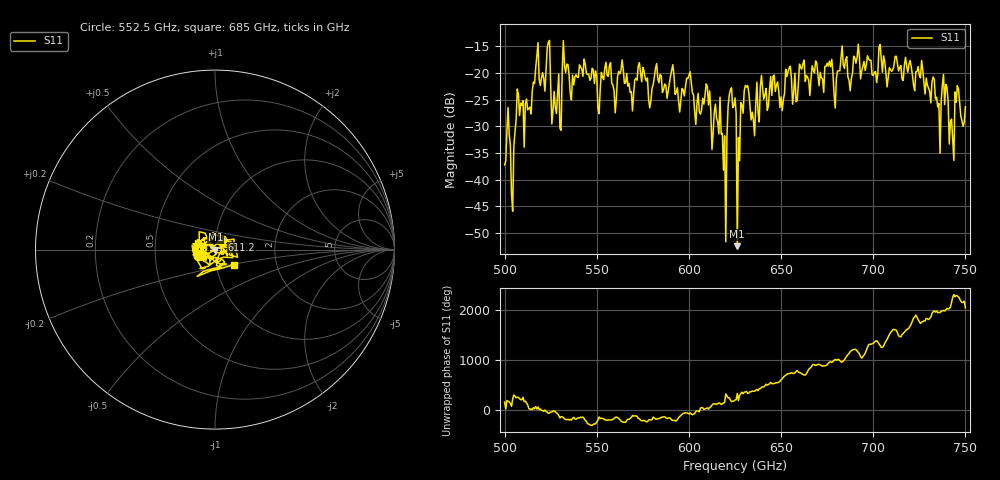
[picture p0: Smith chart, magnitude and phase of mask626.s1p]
!Created with skrf (http://scikit-rf.org).
# GHz S MA R 50.0
!freq magS11 angS11
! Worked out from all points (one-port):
!   401 points, 500 GHz to 750 GHz, reference 50 ohm
!   lowest |S11| = -52.4 dB at 626.2 GHz (marker M1), VSWR 1.00, Z = 50.2 - j0.105 ohm
!   |S11| at or under -10 dB: start of sweep to end of sweep
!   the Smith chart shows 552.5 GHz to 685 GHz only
!   S11 on the Smith chart (normalised r, x): 552.5 GHz: 0.83, -0.06; 611.2 GHz: 1.07, +0.12; 685 GHz: 1.21, -0.21
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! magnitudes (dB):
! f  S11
! 500 GHz  -37.2
! 504.4 GHz  -45.9
! 507.5 GHz  -24.1
! 513.8 GHz  -26.4
! 516.9 GHz  -19.0
! 523.8 GHz  -14.2
! 526.9 GHz  -23.4
! 531.2 GHz  -19.6
! 533.1 GHz  -19.9
! 552.5 GHz  -19.9
! 562.5 GHz  -20.1
! 593.8 GHz  -22.8
! 611.2 GHz  -23.3
! 618.8 GHz  -38.2
! 622.5 GHz  -23.2
! 625 GHz  -24.7
! 626.2 GHz  -52.4
! 631.2 GHz  -22.6
! 634.4 GHz  -27.3
! 656.2 GHz  -25.8
! 685 GHz  -17.5
! 687.5 GHz  -23.3
! 718.8 GHz  -19.8
! 735 GHz  -26.3
! 738.8 GHz  -25.9
! 742.5 GHz  -28.6
! 745.6 GHz  -22.4
! 750 GHz  -26.3
